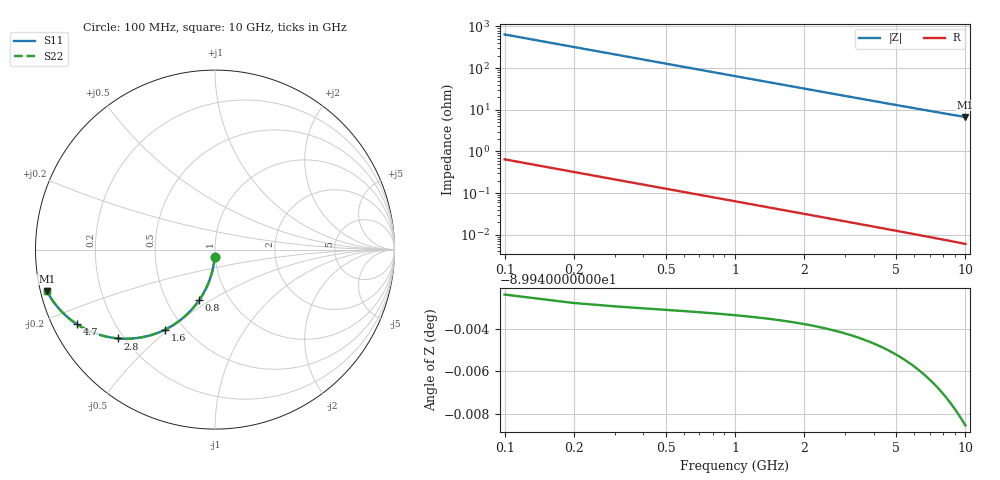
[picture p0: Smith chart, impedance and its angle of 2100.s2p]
# Hz S RI R 50.00
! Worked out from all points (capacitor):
!   100 points, 100 MHz to 10 GHz, reference 50 ohm
!   read as one part in shunt: C = 2.47 pF near 100 MHz
!   lowest |Z| = 6.72 ohm at 10 GHz (marker M1)
!   S11 on the Smith chart (normalised r, x): 100 MHz: 0.99, -0.08; 800 MHz: 0.72, -0.45; 1.6 GHz: 0.39, -0.49; 2.8 GHz: 0.18, -0.38; 4.7 GHz: 0.07, -0.25; 10 GHz: 0.02, -0.12
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1e8  -0.00152 -0.0387  0.9984 -0.0389  0.9984 -0.0389  -0.00152 -0.0387
2e8  -0.00606 -0.077  0.9939 -0.0775  0.9939 -0.0775  -0.00606 -0.077
3e8  -0.0135 -0.1147  0.9865 -0.1153  0.9865 -0.1153  -0.0135 -0.1147
4e8  -0.0237 -0.1513  0.9762 -0.1522  0.9762 -0.1522  -0.0237 -0.1513
5e8  -0.0365 -0.1866  0.9634 -0.1877  0.9634 -0.1877  -0.0365 -0.1866
6e8  -0.0517 -0.2204  0.9482 -0.2216  0.9482 -0.2216  -0.0517 -0.2204
8e8  -0.0883 -0.2824  0.9117 -0.2841  0.9117 -0.2841  -0.0883 -0.2824
1e9  -0.1313 -0.3362  0.8687 -0.3383  0.8687 -0.3383  -0.1313 -0.3362
1.2e9  -0.1786 -0.3812  0.8214 -0.3838  0.8214 -0.3838  -0.1786 -0.3812
1.4e9  -0.2282 -0.4177  0.7717 -0.4207  0.7717 -0.4207  -0.2282 -0.4177
1.6e9  -0.2785 -0.446  0.7215 -0.4495  0.7215 -0.4495  -0.2785 -0.446
1.8e9  -0.328 -0.467  0.6719 -0.4709  0.6719 -0.4709  -0.328 -0.467
2.3e9  -0.4431 -0.4938  0.5568 -0.4987  0.5568 -0.4987  -0.4431 -0.4938
2.8e9  -0.5407 -0.4948  0.4592 -0.5009  0.4592 -0.5009  -0.5407 -0.4948
3.4e9  -0.6342 -0.4774  0.3658 -0.4849  0.3658 -0.4849  -0.6342 -0.4774
4e9  -0.7056 -0.4509  0.2944 -0.4597  0.2944 -0.4597  -0.7056 -0.4509
4.7e9  -0.7677 -0.4166  0.2322 -0.4269  0.2322 -0.4269  -0.7677 -0.4166
5.1e9  -0.7955 -0.3972  0.2044 -0.4084  0.2044 -0.4084  -0.7955 -0.3972
5.8e9  -0.8341 -0.365  0.1658 -0.3779  0.1658 -0.3779  -0.8341 -0.365
6.7e9  -0.8703 -0.3279  0.1296 -0.3429  0.1296 -0.3429  -0.8703 -0.3279
8.4e9  -0.9135 -0.2709  0.0863 -0.2899  0.0863 -0.2899  -0.9135 -0.2709
1e10  -0.9375 -0.2298  0.0621 -0.2526  0.0621 -0.2526  -0.9375 -0.2298
